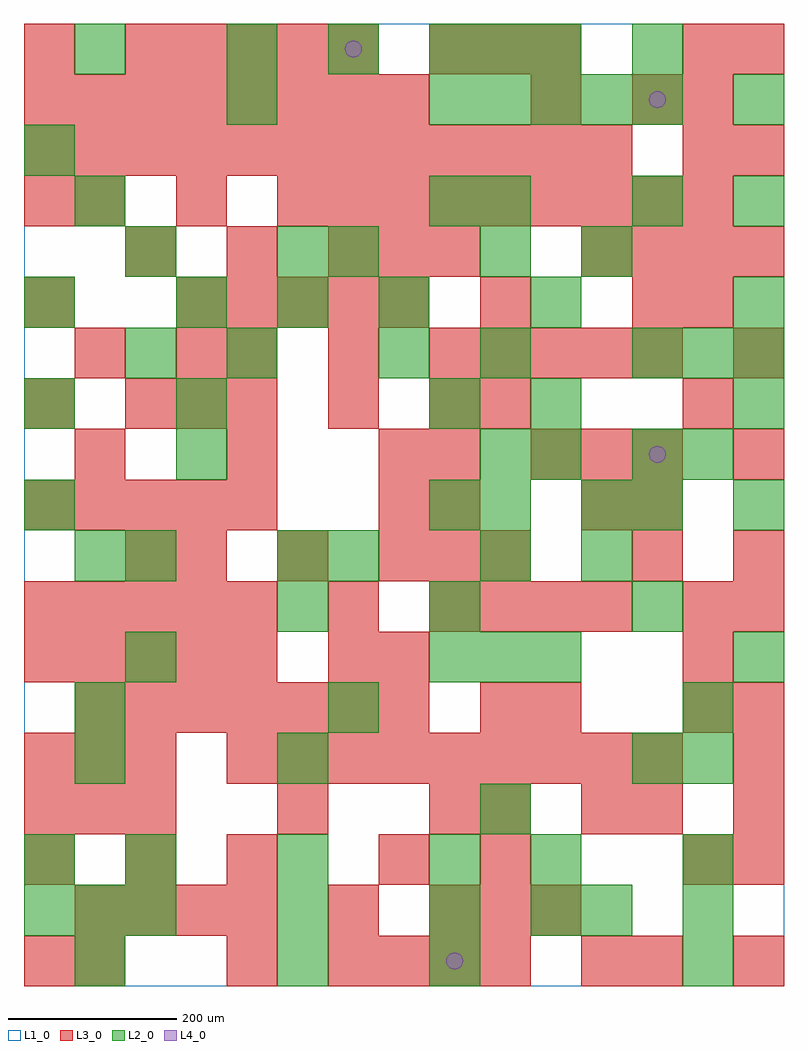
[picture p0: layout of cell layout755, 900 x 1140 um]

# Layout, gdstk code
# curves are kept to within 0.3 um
import gdstk
lib = gdstk.Library(unit=1e-6, precision=1e-09)
def R(c, l, rs):  # rectangles x0, y0, x1, y1
    for r in rs: c.add(gdstk.rectangle(r[:2], r[2:], *l))
def A(c, l, x, y, w, h, nx, ny, dx, dy):  # array of equal rectangles
    R(c, l, [(x+i*dx, y+j*dy, x+i*dx+w, y+j*dy+h) for i in range(nx) for j in range(ny)])
def P(c, l, *ps):  # polygons
    for p in ps: c.add(gdstk.Polygon(p, *l))
L1_0 = (1, 0)
L2_0 = (2, 0)
L3_0 = (3, 0)
L4_0 = (4, 0)

layout755 = lib.new_cell('layout755')
R(layout755, L1_0, [(0,0,900,1140)])
A(layout755, L2_0, 780, 0, 60, 60, 1, 3, 0, 60)
A(layout755, L2_0, 0, 60, 60, 60, 3, 1, 60, 0)
A(layout755, L2_0, 300, 60, 60, 60, 1, 3, 0, 180)
A(layout755, L2_0, 120, 120, 60, 60, 3, 1, 180, 0)
A(layout755, L2_0, 480, 360, 60, 60, 3, 1, 60, 0)
A(layout755, L2_0, 480, 420, 60, 60, 1, 3, 0, 120)
A(layout755, L2_0, 540, 480, 60, 60, 1, 3, 0, 60)
A(layout755, L2_0, 0, 540, 60, 60, 1, 3, 0, 120)
A(layout755, L2_0, 840, 540, 60, 60, 1, 5, 0, 120)
A(layout755, L2_0, 720, 720, 60, 60, 3, 1, 60, 0)
A(layout755, L2_0, 180, 780, 60, 60, 3, 1, 120, 0)
A(layout755, L2_0, 480, 1020, 60, 60, 5, 1, 60, 0)
A(layout755, L2_0, 240, 1080, 60, 60, 3, 1, 120, 0)
R(layout755, L2_0, [(60,0,120,60), (300,0,360,60), (480,0,540,60), (480,60,540,120), (600,60,660,120), (660,60,720,120), (0,120,60,180), (600,120,660,180), (540,180,600,240), (60,240,120,300), (720,240,780,300), (780,240,840,300), (60,300,120,360), (360,300,420,360), (780,300,840,360), (120,360,180,420), (840,360,900,420), (720,420,780,480), (60,480,120,540), (120,480,180,540), (300,480,360,540), (360,480,420,540), (660,480,720,540), (660,540,720,600), (720,540,780,600), (180,600,240,660), (600,600,660,660), (720,600,780,660), (780,600,840,660), (180,660,240,720), (600,660,660,720), (120,720,180,780), (240,720,300,780), (420,720,480,780), (540,720,600,780), (600,780,660,840), (120,840,180,900), (300,840,360,900), (360,840,420,900), (540,840,600,900), (660,840,720,900), (60,900,120,960), (480,900,540,960), (540,900,600,960), (720,900,780,960), (0,960,60,1020), (240,1020,300,1080), (60,1080,120,1140), (540,1080,600,1140), (600,1080,660,1140), (720,1080,780,1140)])
A(layout755, L3_0, 360, 0, 60, 60, 4, 1, 60, 0)
A(layout755, L3_0, 60, 60, 60, 60, 4, 1, 60, 0)
A(layout755, L3_0, 480, 60, 60, 60, 3, 2, 60, 1020)
A(layout755, L3_0, 0, 120, 60, 60, 3, 1, 120, 0)
A(layout755, L3_0, 840, 120, 60, 60, 1, 4, 0, 60)
A(layout755, L3_0, 0, 180, 60, 60, 3, 2, 60, 60)
A(layout755, L3_0, 240, 240, 60, 60, 9, 1, 60, 0)
A(layout755, L3_0, 60, 300, 60, 60, 7, 1, 60, 0)
A(layout755, L3_0, 540, 300, 60, 60, 1, 3, 0, 180)
A(layout755, L3_0, 780, 300, 60, 60, 1, 3, 0, 60)
A(layout755, L3_0, 0, 360, 60, 60, 5, 2, 60, 60)
A(layout755, L3_0, 480, 420, 60, 60, 4, 1, 60, 0)
A(layout755, L3_0, 180, 480, 60, 60, 3, 1, 120, 0)
A(layout755, L3_0, 480, 480, 60, 60, 1, 4, 0, 60)
A(layout755, L3_0, 840, 480, 60, 60, 1, 3, 0, 120)
A(layout755, L3_0, 0, 540, 60, 60, 5, 1, 60, 0)
A(layout755, L3_0, 720, 540, 60, 60, 1, 3, 0, 240)
A(layout755, L3_0, 60, 600, 60, 60, 3, 1, 180, 0)
A(layout755, L3_0, 600, 600, 60, 60, 3, 1, 60, 0)
A(layout755, L3_0, 0, 660, 60, 60, 1, 3, 0, 120)
A(layout755, L3_0, 120, 660, 60, 60, 3, 1, 60, 0)
A(layout755, L3_0, 240, 720, 60, 60, 3, 1, 120, 0)
A(layout755, L3_0, 540, 720, 60, 60, 4, 1, 60, 0)
A(layout755, L3_0, 180, 780, 60, 60, 5, 1, 60, 0)
A(layout755, L3_0, 120, 840, 60, 60, 3, 1, 120, 0)
A(layout755, L3_0, 660, 840, 60, 60, 4, 1, 60, 0)
A(layout755, L3_0, 60, 900, 60, 60, 3, 1, 120, 0)
A(layout755, L3_0, 360, 900, 60, 60, 8, 1, 60, 0)
A(layout755, L3_0, 0, 960, 60, 60, 12, 1, 60, 0)
A(layout755, L3_0, 780, 960, 60, 60, 1, 3, 0, 60)
A(layout755, L3_0, 0, 1020, 60, 60, 8, 1, 60, 0)
A(layout755, L3_0, 120, 1080, 60, 60, 5, 1, 60, 0)
R(layout755, L3_0, [(0,0,60,60), (60,0,120,60), (240,0,300,60), (660,0,720,60), (720,0,780,60), (840,0,900,60), (360,60,420,120), (420,120,480,180), (540,120,600,180), (780,120,840,180), (300,180,360,240), (480,180,540,240), (540,180,600,240), (660,180,720,240), (720,180,780,240), (600,300,660,360), (360,360,420,420), (420,360,480,420), (360,420,420,480), (840,420,900,480), (120,480,180,540), (720,480,780,540), (420,540,480,600), (660,540,720,600), (360,660,420,720), (780,660,840,720), (60,720,120,780), (180,720,240,780), (540,780,600,840), (780,780,840,840), (420,840,480,900), (480,840,540,900), (840,960,900,1020), (600,1020,660,1080), (0,1080,60,1140), (840,1080,900,1140)])
P(layout755, L4_0, [(400,1110),(399.239,1113.827),(397.071,1117.071),(393.827,1119.239),(390,1120),(386.173,1119.239),(382.929,1117.071),(380.761,1113.827),(380,1110),(380.761,1106.173),(382.929,1102.929),(386.173,1100.761),(390,1100),(393.827,1100.761),(397.071,1102.929),(399.239,1106.173)],
  [(520,30),(519.239,33.827),(517.071,37.071),(513.827,39.239),(510,40),(506.173,39.239),(502.929,37.071),(500.761,33.827),(500,30),(500.761,26.173),(502.929,22.929),(506.173,20.761),(510,20),(513.827,20.761),(517.071,22.929),(519.239,26.173)],
  [(760,630),(759.239,633.827),(757.071,637.071),(753.827,639.239),(750,640),(746.173,639.239),(742.929,637.071),(740.761,633.827),(740,630),(740.761,626.173),(742.929,622.929),(746.173,620.761),(750,620),(753.827,620.761),(757.071,622.929),(759.239,626.173)],
  [(760,1050),(759.239,1053.827),(757.071,1057.071),(753.827,1059.239),(750,1060),(746.173,1059.239),(742.929,1057.071),(740.761,1053.827),(740,1050),(740.761,1046.173),(742.929,1042.929),(746.173,1040.761),(750,1040),(753.827,1040.761),(757.071,1042.929),(759.239,1046.173)])

lib.write_gds('layout755.gds')
